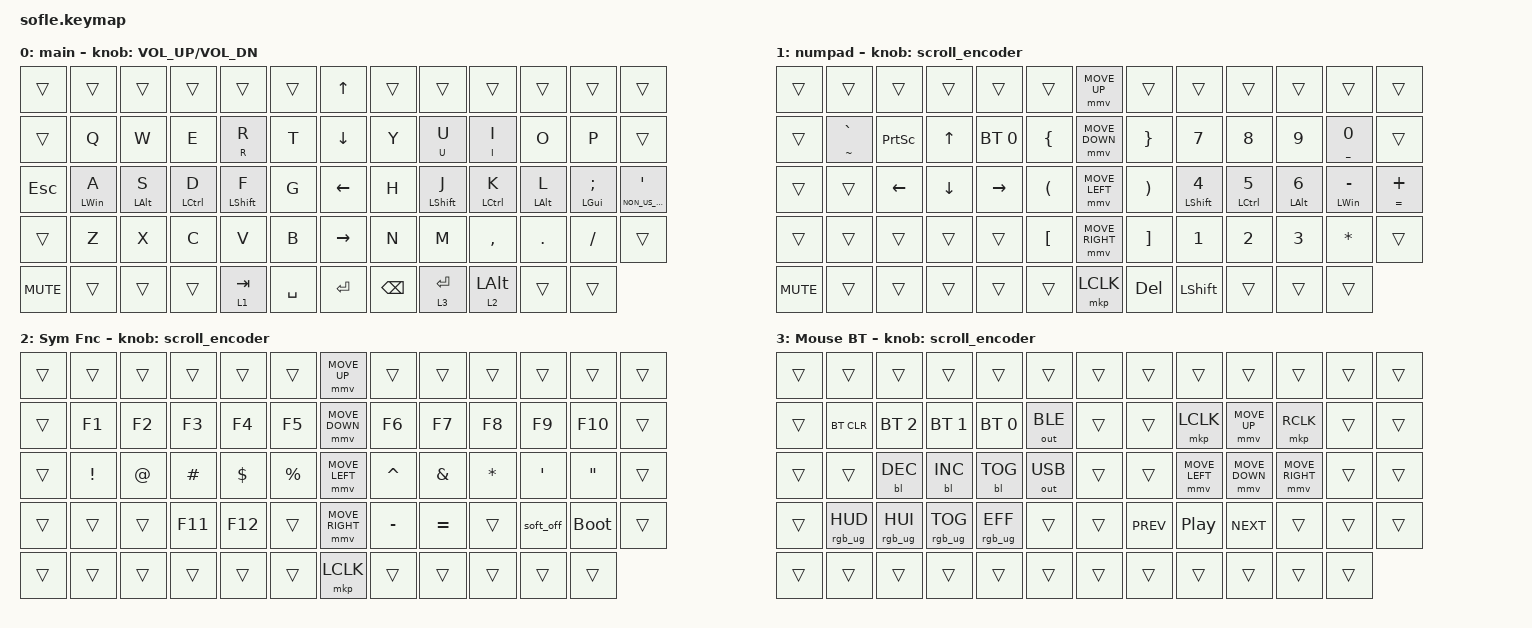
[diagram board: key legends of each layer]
#include <behaviors/mouse_keys.dtsi>
#include <dt-bindings/zmk/mouse.h>
#include <behaviors.dtsi>
#include <dt-bindings/zmk/backlight.h>
#include <dt-bindings/zmk/bt.h>
#include <dt-bindings/zmk/keys.h>
#include <dt-bindings/zmk/outputs.h>
#include <dt-bindings/zmk/rgb.h>

#define ZMK_MOUSE_DEFAULT_MOVE_VAL 1200  // 600
#define ZMK_MOUSE_DEFAULT_SCRL_VAL 20    // 10
#define U_MS_U &mmv MOVE_UP
#define U_MS_D &mmv MOVE_DOWN
#define U_MS_L &mmv MOVE_LEFT
#define U_MS_R &mmv MOVE_RIGHT
#define ZMK_MOUSE_DEFAULT_MOVE_VAL 1200  //  600
#define ZMK_MOUSE_DEFAULT_SCRL_VAL 20    // 10

/ {
    behaviors {
        mmv {
            acceleration-exponent = <1>;      // 1
            time-to-max-speed-ms = <900>;    // 40
            delay-ms = <0>;                   // 0
        };

        msc {
            acceleration-exponent = <1>;      // 0
            time-to-max-speed-ms = <400>;      // 500
            delay-ms = <0>;                   //   10
        };
    };

    scroll_encoder: scroll_encoder {
        compatible = "zmk,behavior-sensor-rotate";
        #sensor-binding-cells = <0>;
        bindings = <&msc SCRL_DOWN>, <&msc SCRL_UP>;

        tap-ms = <30>;
    };

    homerow_left: homerow_left {
        compatible = "zmk,behavior-hold-tap";
        label = "HOMEROW_LEFT";
        bindings = <&kp>, <&kp>;

        #binding-cells = <2>;
        tapping-term-ms = <250>;
        flavor = "hold-preferred";
        hold-trigger-key-positions = <7 8 9 10 11 12 20 21 22 23 24 25 33 34 35 36 37 38 46 47 48 49 50 51 60 61 62 63 59 32 45 58 19 6 26 13 39 1 2 3 4 5 57 56>;
    };

    homerow_right: homerow_right {
        compatible = "zmk,behavior-hold-tap";
        label = "HOMEROW_RIGHT";
        bindings = <&kp>, <&kp>;

        #binding-cells = <2>;
        tapping-term-ms = <250>;
        flavor = "hold-preferred";
        hold-trigger-key-positions = <0 1 13 14 15 16 17 18 19 26 27 28 29 30 31 32 39 40 41 42 43 44 52 53 54 55 56 58 0 1 2 3 4 5 6 13 14 15 16 17 18 32 45 58 7 8 9 10 11 12 25 38 59 60>;
    };

    togglelong: togglelong {
        compatible = "zmk,behavior-hold-tap";
        label = "TOGGLELONG";
        bindings = <&tog>, <&kp>;

        #binding-cells = <2>;
        tapping-term-ms = <200>;
        flavor = "tap-preferred";
    };

    holdtaptappreferred: holdtaptappreferred {
        compatible = "zmk,behavior-hold-tap";
        label = "HOLDTAPTAPPREFERRED";
        bindings = <&kp>, <&kp>;

        #binding-cells = <2>;
        tapping-term-ms = <200>;
        flavor = "tap-preferred";
    };

    combos {
        compatible = "zmk,combos";

        Copy {
            bindings = <&kp RC(C)>;
            key-positions = <29 28>;
        };

        Paste {
            bindings = <&kp RC(V)>;
            key-positions = <30 29>;
        };

        ctl-z {
            bindings = <&kp LC(Z)>;
            key-positions = <15 16>;
        };

        Cut {
            bindings = <&kp RC(X)>;
            key-positions = <31 30>;
        };

        Select-all {
            bindings = <&kp RC(A)>;
            key-positions = <16 17>;
        };

        enter-left {
            bindings = <&kp ENTER>;
            key-positions = <44 43>;
        };
    };

    macros {
        accent1: accent1 {
            compatible = "zmk,behavior-macro";
            #binding-cells = <0>;
            bindings = <&accent1>;
            label = "ACCENT1";
        };
    };

    keymap {
        compatible = "zmk,keymap";

        layer0 {
            bindings = <
&trans      &trans                    &trans                    &trans                        &trans                      &trans       &kp UP_ARROW     &trans         &trans                       &trans                         &trans                     &trans                        &trans
&trans      &kp Q                     &kp W                     &kp E                         &holdtaptappreferred R R    &kp T        &kp DOWN_ARROW   &kp Y          &holdtaptappreferred U U     &holdtaptappreferred I I       &kp O                      &kp P                         &trans
&kp ESCAPE  &homerow_left LEFT_WIN A  &homerow_left LEFT_ALT S  &homerow_left LEFT_CONTROL D  &homerow_left LEFT_SHIFT F  &kp G        &kp LEFT_ARROW   &kp H          &homerow_right LEFT_SHIFT J  &homerow_right LEFT_CONTROL K  &homerow_right LEFT_ALT L  &homerow_right LEFT_GUI SEMI  &holdtaptappreferred NON_US_BACKSLASH APOS
&trans      &kp Z                     &kp X                     &kp C                         &kp V                       &kp B        &kp RIGHT_ARROW  &kp N          &kp M                        &kp COMMA                      &kp DOT                    &kp FSLH                      &trans
&kp C_MUTE  &trans                    &trans                    &trans                        &lt 1 TAB                   &kp SPACE    &kp ENTER        &kp BACKSPACE  &lt 3 ENTER                  &lt 2 LEFT_ALT                 &trans                     &trans
            >;

            sensor-bindings = <&inc_dec_kp C_VOLUME_UP C_VOL_DN>;
            display-name = "main";
        };

        layer_1 {
            bindings = <
&trans      &trans           &trans           &trans          &trans           &trans                  &mmv MOVE_UP     &trans                 &trans                              &trans                          &trans                        &trans                         &trans
&trans      &mt TILDE GRAVE  &kp PRINTSCREEN  &kp UP_ARROW    &bt BT_SEL 0     &kp LEFT_BRACE          &mmv MOVE_DOWN   &kp RIGHT_BRACE        &kp N7                              &kp N8                          &kp N9                        &holdtaptappreferred UNDER N0  &trans
&trans      &trans           &kp LEFT_ARROW   &kp DOWN_ARROW  &kp RIGHT_ARROW  &kp LEFT_PARENTHESIS    &mmv MOVE_LEFT   &kp RIGHT_PARENTHESIS  &homerow_right LEFT_SHIFT NUMBER_4  &homerow_right LEFT_CONTROL N5  &homerow_right LALT NUMBER_6  &homerow_right LEFT_WIN MINUS  &holdtaptappreferred EQUAL PLUS
&trans      &trans           &trans           &trans          &trans           &kp LEFT_BRACKET        &mmv MOVE_RIGHT  &kp RIGHT_BRACKET      &kp NUMBER_1                        &kp NUMBER_2                    &kp NUMBER_3                  &kp ASTERISK                   &trans
&kp C_MUTE  &trans           &trans           &trans          &trans           &trans                  &mkp LCLK        &kp DELETE             &kp LEFT_SHIFT                      &trans                          &trans                        &trans
            >;

            display-name = "numpad";
            sensor-bindings = <&scroll_encoder>;
        };

        layer_2 {
            bindings = <
&trans  &trans           &trans  &trans    &trans      &trans         &mmv MOVE_UP     &trans     &trans         &trans        &trans     &trans             &trans
&trans  &kp F1           &kp F2  &kp F3    &kp F4      &kp F5         &mmv MOVE_DOWN   &kp F6     &kp F7         &kp F8        &kp F9     &kp F10            &trans
&trans  &kp EXCLAMATION  &kp AT  &kp HASH  &kp DOLLAR  &kp PERCENT    &mmv MOVE_LEFT   &kp CARET  &kp AMPERSAND  &kp ASTERISK  &kp SQT    &kp DOUBLE_QUOTES  &trans
&trans  &trans           &trans  &kp F11   &kp F12     &trans         &mmv MOVE_RIGHT  &kp MINUS  &kp EQUAL      &trans        &soft_off  &bootloader        &trans
&trans  &trans           &trans  &trans    &trans      &trans         &mkp LCLK        &trans     &trans         &trans        &trans     &trans
            >;

            sensor-bindings = <&scroll_encoder>;
            label = "Sym Fnc";
        };

        layer_4 {
            bindings = <
&trans  &trans           &trans           &trans           &trans           &trans          &trans  &trans      &trans            &trans          &trans           &trans  &trans
&trans  &bt BT_CLR       &bt BT_SEL 2     &bt BT_SEL 1     &bt BT_SEL 0     &out OUT_BLE    &trans  &trans      &mkp LCLK         &mmv MOVE_UP    &mkp RCLK        &trans  &trans
&trans  &trans           &bl BL_DEC       &bl BL_INC       &bl BL_TOG       &out OUT_USB    &trans  &trans      &mmv MOVE_LEFT    &mmv MOVE_DOWN  &mmv MOVE_RIGHT  &trans  &trans
&trans  &rgb_ug RGB_HUD  &rgb_ug RGB_HUI  &rgb_ug RGB_TOG  &rgb_ug RGB_EFF  &trans          &trans  &kp K_PREV  &kp C_PLAY_PAUSE  &kp K_NEXT      &trans           &trans  &trans
&trans  &trans           &trans           &trans           &trans           &trans          &trans  &trans      &trans            &trans          &trans           &trans
            >;

            label = "Mouse BT";
            sensor-bindings = <&scroll_encoder>;
        };
    };
};
